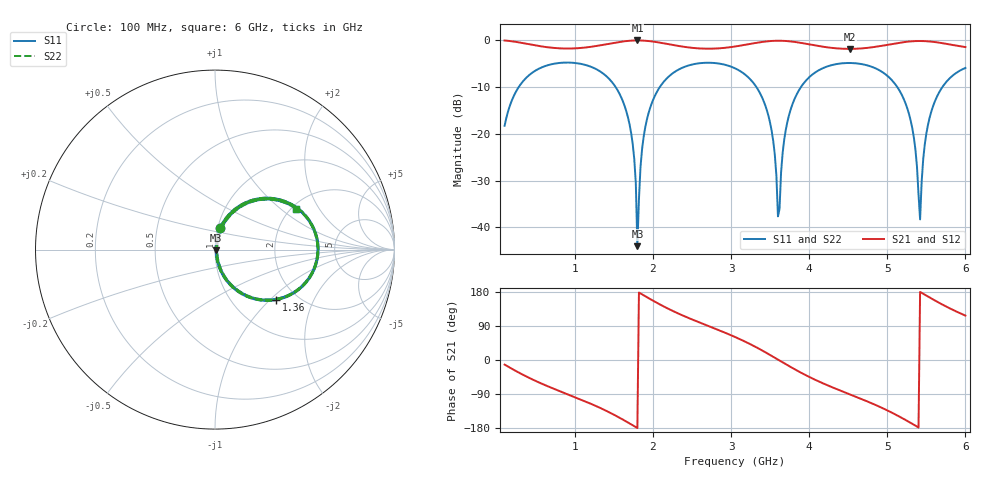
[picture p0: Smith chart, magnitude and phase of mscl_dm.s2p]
! Sonnet Data File
! From: sonnet Version : 18.53-Lite
! From Emgraph Data:
! Data File Written: 09/16/2023 12:22:57
!< HDATE 09/16/2023 12:22:22
!< MDATE 09/16/2023 12:22:22
# GHZ S MA R 50.00000
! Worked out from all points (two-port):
!   296 points, 100 MHz to 6 GHz, reference 50 ohm
!   highest |S21| = -0.06 dB at 1.8 GHz (marker M1); lowest = -1.9 dB at 4.52 GHz (marker M2)
!   |S21| within 3 dB of the highest: start of sweep to end of sweep
!   lowest |S11| = -44.0 dB at 1.8 GHz (marker M3), VSWR 1.01, Z = 50.4 - j0.497 ohm
!   |S11| at or under -10 dB: 1.521 GHz to 2.088 GHz (567.1 MHz wide, 31.4 % of centre); 3.323 GHz to 3.895 GHz (572.2 MHz wide, 15.9 % of centre); 5.127 GHz to 5.706 GHz (579.2 MHz wide, 10.7 % of centre)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
!   |S22| runs from -44.0 to -4.8 dB; largest |S21 - S12| = 2.4e-12
!   S11 on the Smith chart (normalised r, x): 100 MHz: 1.02, +0.25; 1.36 GHz: 1.57, -1.09; 6 GHz: 2.11, +1.29
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0.1  0.1219 77.9  0.9924 -12.2  0.9924 -12.2  0.1219 77.9
0.44  0.4408 40.4  0.8967 -49.7  0.8967 -49.7  0.4408 40.4
1.1  0.5531 -16.2  0.8293 -106.4  0.8293 -106.4  0.5531 -16.2
1.36  0.4415 -39.6  0.8921 -130.0  0.8921 -130.0  0.4415 -39.6
1.7  0.1259 -75.6  0.9855 -167.4  0.9855 -167.4  0.1259 -75.6
1.78  0.02971 -79.5  0.9929 -177.1  0.9929 -177.1  0.02971 -79.5
1.8  0.006306 -51.4  0.9933 -179.5  0.9933 -179.5  0.006309 -51.4
1.88  0.09244 78.5  0.9889 170.8  0.9889 170.8  0.09244 78.5
2.08  0.309 57.0  0.9441 147.5  0.9441 147.5  0.3091 57.0
3.06  0.4964 -29.6  0.8584 59.9  0.8584 59.9  0.4954 -29.6
3.46  0.1762 -69.6  0.9715 17.9  0.9715 17.9  0.176 -69.6
3.56  0.05954 -76.6  0.985 6.0  0.985 6.0  0.0595 -76.6
3.6  0.01313 -52.7  0.9866 1.1  0.9866 1.1  0.0131 -52.9
3.74  0.1562 71.6  0.9743 -15.8  0.9743 -15.8  0.1562 71.6
4.04  0.4293 40.8  0.8902 -48.6  0.8902 -48.6  0.4293 40.8
4.52  0.5708 -0.5  0.8074 -90.7  0.8074 -90.7  0.5708 -0.5
5.02  0.4029 -43.8  0.8978 -135.0  0.8978 -135.0  0.4029 -43.7
5.3  0.1378 -71.4  0.9709 -166.0  0.9709 -166.0  0.1378 -71.2
5.42  0.01219 21.9  0.98 179.6  0.98 179.6  0.01252 21.3
5.46  0.05372 72.7  0.9786 174.7  0.9786 174.7  0.0538 72.4
5.56  0.1688 69.2  0.9658 162.8  0.9658 162.8  0.1688 69.1
6  0.5051 26.7  0.8445 117.1  0.8445 117.1  0.5052 26.6
